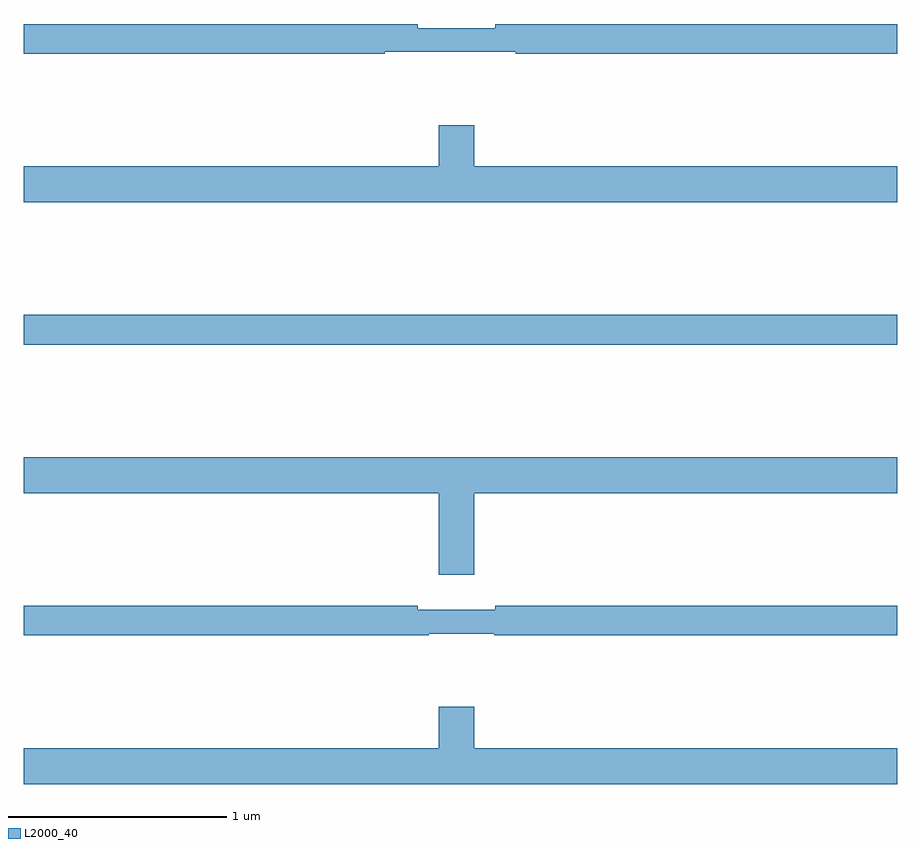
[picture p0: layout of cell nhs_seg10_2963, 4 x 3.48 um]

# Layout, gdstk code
import gdstk
lib = gdstk.Library(unit=1e-6, precision=1e-09)
def R(c, l, rs):  # rectangles x0, y0, x1, y1
    for r in rs: c.add(gdstk.rectangle(r[:2], r[2:], *l))
def P(c, l, *ps):  # polygons
    for p in ps: c.add(gdstk.Polygon(p, *l))
L2000_40 = (2000, 40)

nhs_seg10_2963 = lib.new_cell('nhs_seg10_2963')
R(nhs_seg10_2963, L2000_40, [(271,1316.98,275,1317.116)])
P(nhs_seg10_2963, L2000_40, [(272.654,1318.32),(273.254,1318.32),(273.254,1318.312),(275,1318.312),(275,1318.448),(273.16,1318.448),(273.16,1318.429),(272.804,1318.429),(272.804,1318.448),(271,1318.448),(271,1318.312),(272.654,1318.312)],
  [(275,1317.796),(273.064,1317.796),(273.064,1317.985),(272.9,1317.985),(272.9,1317.796),(271,1317.796),(271,1317.632),(275,1317.632)],
  [(273.064,1316.3),(275,1316.3),(275,1316.464),(271,1316.464),(271,1316.3),(272.9,1316.3),(272.9,1315.926),(273.064,1315.926)],
  [(272.855,1315.656),(273.155,1315.656),(273.155,1315.648),(275,1315.648),(275,1315.784),(273.16,1315.784),(273.16,1315.765),(272.804,1315.765),(272.804,1315.784),(271,1315.784),(271,1315.648),(272.855,1315.648)],
  [(275,1315.132),(273.064,1315.132),(273.064,1315.321),(272.9,1315.321),(272.9,1315.132),(271,1315.132),(271,1314.968),(275,1314.968)])

lib.write_gds('nhs_seg10_2963.gds')
